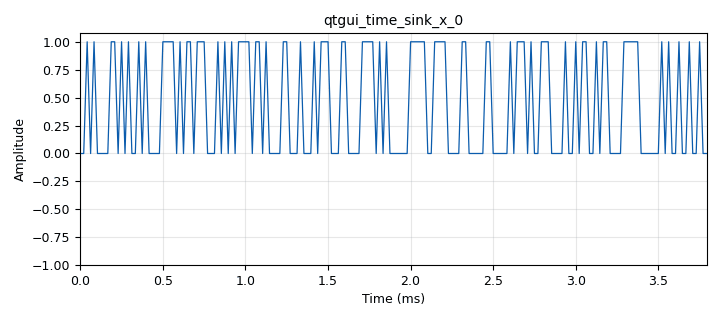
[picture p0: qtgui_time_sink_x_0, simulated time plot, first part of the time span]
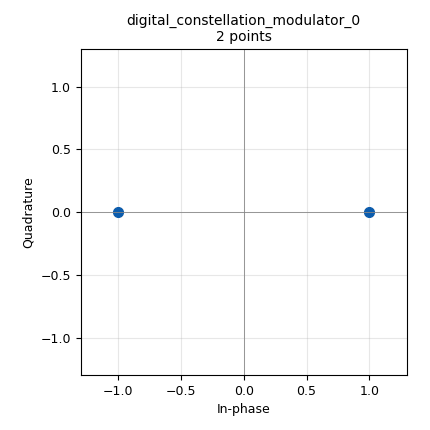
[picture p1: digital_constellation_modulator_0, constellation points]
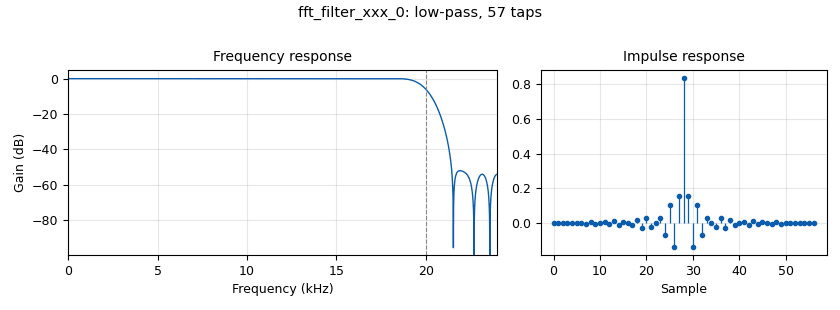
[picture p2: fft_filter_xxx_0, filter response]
options:
  parameters:
    author: popuser
    generate_options: qt_gui
    id: bpsk_transmitter
    output_language: python
    title: BPSK Transmitter
  states: {}

blocks:
- name: LimeRate
  id: variable
  parameters:
    value: '48000'
  states: {}
- name: access_key
  id: variable
  parameters:
    value: '''11100001010110101110100010010011'''
  states: {}
- name: bpsk
  id: variable_constellation
  parameters:
    precision: '8'
    type: bpsk
  states: {}
- name: excess_bw
  id: variable
  parameters:
    value: '0.350'
  states: {}
- name: hdr_format
  id: variable
  parameters:
    comment: header_format_default
    value: digital.header_format_default(access_key, 0)
  states: {}
- name: low_pass_filter_taps
  id: variable_low_pass_filter_taps
  parameters:
    cutoff_freq: '20000'
    gain: '1.0'
    samp_rate: samp_rate
    width: '2000'
    win: firdes.WIN_HAMMING
  states: {}
- name: rs_ratio
  id: variable
  parameters:
    value: '1.04'
  states: {}
- name: samp_rate
  id: variable
  parameters:
    value: '48000'
  states: {}
- name: sps
  id: variable
  parameters:
    value: '4'
  states: {}
- name: InFile
  id: parameter
  parameters:
    label: 'File Name '
    type: str
    value: ''
  states: {}
- name: analog_random_source_x_0
  id: analog_random_source_x
  parameters:
    max: '256'
    min: '0'
    num_samps: '1000'
    repeat: 'True'
    type: byte
  states: {}
- name: blocks_file_source_0
  id: blocks_file_source
  parameters:
    file: /home/popuser/Desktop/TxRx-Lab-Project/Transmitter/Description
    length: '64'
    repeat: 'False'
    type: byte
  states: {}
- name: blocks_repack_bits_bb_0
  id: blocks_repack_bits_bb
  parameters:
    endianness: gr.GR_LSB_FIRST
    k: '8'
    l: '1'
  states: {}
- name: blocks_stream_to_tagged_stream_0
  id: blocks_stream_to_tagged_stream
  parameters:
    len_tag_key: '"packet_len"'
    packet_len: '64'
    type: byte
  states: {}
- name: blocks_tagged_stream_mux_0
  id: blocks_tagged_stream_mux
  parameters:
    lengthtagname: packet_len
    ninputs: '2'
    type: byte
  states: {}
- name: blocks_throttle_0
  id: blocks_throttle
  parameters:
    samples_per_second: samp_rate
    type: complex
  states: {}
- name: blocks_uchar_to_float_0
  id: blocks_uchar_to_float
  parameters: {}
  states: {}
- name: blocks_uchar_to_float_0_0
  id: blocks_uchar_to_float
  parameters: {}
  states: {}
- name: digital_constellation_modulator_0
  id: digital_constellation_modulator
  parameters:
    constellation: bpsk
    differential: 'True'
    excess_bw: '0.35'
    samples_per_symbol: '4'
  states: {}
- name: digital_crc32_bb_0
  id: digital_crc32_bb
  parameters:
    check: 'False'
    lengthtagname: '"packet_len"'
    packed: 'True'
  states: {}
- name: digital_protocol_formatter_bb_0
  id: digital_protocol_formatter_bb
  parameters:
    format: hdr_format
    len_tag_key: '"packet_len"'
  states: {}
- name: fft_filter_xxx_0
  id: fft_filter_xxx
  parameters:
    decim: '1'
    taps: low_pass_filter_taps
    type: ccc
  states: {}
- name: limesdr_sink_0
  id: limesdr_sink
  parameters:
    allow_tcxo_dac: '0'
    channel_mode: '0'
    gain_dB_ch0: '40'
    oversample: '0'
    rf_freq: '433000000'
    samp_rate: samp_rate
  states: {}
- name: mmse_resampler_xx_0
  id: mmse_resampler_xx
  parameters:
    phase_shift: '0'
    resamp_ratio: '1'
    type: complex
  states: {}
- name: qtgui_time_sink_x_0
  id: qtgui_time_sink_x
  parameters:
    size: '1024'
    srate: samp_rate
    type: float
  states: {}
- name: qtgui_time_sink_x_0_0
  id: qtgui_time_sink_x
  parameters:
    size: '1024'
    srate: samp_rate
    type: float
  states: {}
- name: virtual_sink_0
  id: virtual_sink
  parameters:
    stream_id: vt1
  states: {}
- name: virtual_source_0
  id: virtual_source
  parameters:
    stream_id: vt1
  states: {state: disabled}

connections:
- [analog_random_source_x_0, '0', blocks_repack_bits_bb_0, '0']
- [analog_random_source_x_0, '0', digital_constellation_modulator_0, '0']
- [blocks_file_source_0, '0', blocks_stream_to_tagged_stream_0, '0']
- [blocks_repack_bits_bb_0, '0', blocks_uchar_to_float_0, '0']
- [blocks_stream_to_tagged_stream_0, '0', blocks_uchar_to_float_0_0, '0']
- [blocks_stream_to_tagged_stream_0, '0', digital_crc32_bb_0, '0']
- [blocks_tagged_stream_mux_0, '0', virtual_sink_0, '0']
- [blocks_throttle_0, '0', limesdr_sink_0, '0']
- [blocks_uchar_to_float_0, '0', qtgui_time_sink_x_0, '0']
- [blocks_uchar_to_float_0_0, '0', qtgui_time_sink_x_0_0, '0']
- [digital_constellation_modulator_0, '0', fft_filter_xxx_0, '0']
- [digital_crc32_bb_0, '0', blocks_tagged_stream_mux_0, '1']
- [digital_crc32_bb_0, '0', digital_protocol_formatter_bb_0, '0']
- [digital_protocol_formatter_bb_0, '0', blocks_tagged_stream_mux_0, '0']
- [fft_filter_xxx_0, '0', mmse_resampler_xx_0, '0']
- [mmse_resampler_xx_0, '0', blocks_throttle_0, '0']
- [virtual_source_0, '0', blocks_repack_bits_bb_0, '0']
- [virtual_source_0, '0', digital_constellation_modulator_0, '0']

metadata:
  file_format: 1
